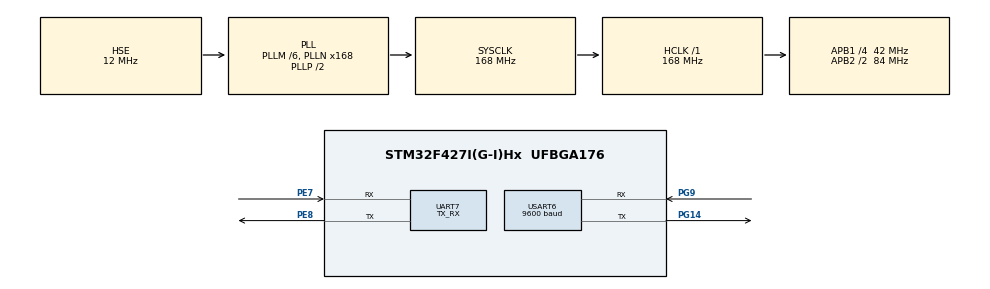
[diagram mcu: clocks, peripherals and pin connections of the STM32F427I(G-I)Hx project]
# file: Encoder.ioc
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Mcu.Family=STM32F4
Mcu.Name=STM32F427I(G-I)Hx
Mcu.Package=UFBGA176
NVIC.PriorityGroup=NVIC_PRIORITYGROUP_4
NVIC.TIM6_DAC_IRQn=true\:15\:0\:false\:false\:true\:false\:true\:true
NVIC.TimeBase=TIM6_DAC_IRQn
NVIC.TimeBaseIP=TIM6
NVIC.USART6_IRQn=true\:3\:0\:true\:false\:true\:true\:true\:true
PA13.Mode=Serial_Wire
PA13.Signal=SYS_JTMS-SWDIO
PA14.Mode=Serial_Wire
PA14.Signal=SYS_JTCK-SWCLK
PC14/OSC32_IN.Mode=LSE-External-Oscillator
PC14/OSC32_IN.Signal=RCC_OSC32_IN
PC15/OSC32_OUT.Mode=LSE-External-Oscillator
PC15/OSC32_OUT.Signal=RCC_OSC32_OUT
PD8.Signal=USART3_TX
PD9.Signal=USART3_RX
PE7.Mode=Asynchronous
PE7.Signal=UART7_RX
PE8.Mode=Asynchronous
PE8.Signal=UART7_TX
PG14.Mode=Asynchronous
PG14.Signal=USART6_TX
PG9.Mode=Asynchronous
PG9.Signal=USART6_RX
PH0/OSC_IN.Mode=HSE-External-Oscillator
PH0/OSC_IN.Signal=RCC_OSC_IN
PH1/OSC_OUT.Mode=HSE-External-Oscillator
PH1/OSC_OUT.Signal=RCC_OSC_OUT
ProjectManager.HeapSize=0x200
ProjectManager.StackSize=0x400
ProjectManager.TargetToolchain=MDK-ARM V5.32
RCC.48MHZClocksFreq_Value=84000000
RCC.AHBFreq_Value=168000000
RCC.APB1CLKDivider=RCC_HCLK_DIV4
RCC.APB1Freq_Value=42000000
RCC.APB1TimFreq_Value=84000000
RCC.APB2CLKDivider=RCC_HCLK_DIV2
RCC.APB2Freq_Value=84000000
RCC.APB2TimFreq_Value=168000000
RCC.CortexFreq_Value=168000000
RCC.HCLKFreq_Value=168000000
RCC.HSE_VALUE=12000000
RCC.HSI_VALUE=16000000
RCC.PLLM=6
RCC.PLLN=168
RCC.PLLSourceVirtual=RCC_PLLSOURCE_HSE
RCC.SYSCLKFreq_VALUE=168000000
RCC.SYSCLKSource=RCC_SYSCLKSOURCE_PLLCLK
RCC.VCOOutputFreq_Value=336000000
UART7.Mode=MODE_TX_RX
UART7.VirtualMode=Asynchronous
USART6.BaudRate=9600
USART6.Mode=MODE_RX
USART6.VirtualMode=VM_ASYNC
VP_SYS_VS_tim6.Mode=TIM6
board=custom

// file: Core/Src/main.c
/* USER CODE BEGIN Header */
/**
 ******************************************************************************
 * @file           : main.c
 * @brief          : Main program body
 ******************************************************************************
 * @attention
 *
 * Copyright (c) 2024 STMicroelectronics.
 * All rights reserved.
 *
 * This software is licensed under terms that can be found in the LICENSE file
 * in the root directory of this software component.
 * If no LICENSE file comes with this software, it is provided AS-IS.
 *
 ******************************************************************************
 */
/* USER CODE END Header */
#include "main.h"
#include "usart.h"
#include "gpio.h"

/* USER CODE BEGIN PTD */
uint8_t encoder_resive;
typedef struct
{
  uint8_t id;
  uint32_t get_data;
  float angle;
} encoder_back_t;

encoder_back_t encoder_A_back;
encoder_back_t encoder_B_back;
encoder_back_t encoder_C_back;
encoder_back_t encoder_D_back;

uint32_t angle_count;

typedef struct
{
  uint8_t data[30];
} custom_robot_data_t;

custom_robot_data_t custom_robot_data;

uint8_t text[] = "123456";
/* USER CODE END PTD */

/* USER CODE BEGIN PD */

#define MAX_RX_BUFFER_SIZE 10 // 定义最大接收缓冲区大小，根据实际需要调整
uint8_t rxBuffer[MAX_RX_BUFFER_SIZE]; // 定义接收数据的数组
uint32_t rxBufferIdx = 0;             // 定义接收数据的索引

/* USER CODE END PD */

void SystemClock_Config(void);

int main(void)
{

  /* MCU Configuration--------------------------------------------------------*/

  /* Reset of all peripherals, Initializes the Flash interface and the Systick. */
  HAL_Init();

  /* Configure the system clock */
  SystemClock_Config();

  /* Initialize all configured peripherals */
  MX_GPIO_Init();
  MX_UART7_Init();
  MX_USART6_UART_Init();
  /* USER CODE BEGIN 2 */
//  HAL_UART_Receive_IT(&huart6, &rxBuffer[rxBufferIdx], MAX_RX_BUFFER_SIZE);
  	  HAL_UART_Receive(&huart6, rxBuffer, MAX_RX_BUFFER_SIZE, 0xffff);

  /* USER CODE END 2 */

  /* Infinite loop */
  /* USER CODE BEGIN WHILE */
    int i = 0;
  while (1)
  {

    //HAL_UART_Receive_IT(&huart6, &rxBuffer[rxBufferIdx], MAX_RX_BUFFER_SIZE); // 重新启动接收

    HAL_Delay(1);

    //	HAL_UART_Transmit(&huart7,custom_robot_data.data, sizeof(custom_robot_data.data),0xffff);//

    if (i++ > 33)
    {
	  HAL_UART_Receive(&huart6, rxBuffer,MAX_RX_BUFFER_SIZE, 0xffff);

      i = 0;
      for (i = 0; i < 10; i++)
      {

        if (rxBuffer[i] == 0x01 && rxBuffer[i + 1] == 0x03 && rxBuffer[i + 2] == 0x04 && rxBuffer[i + 3] == 0x00)
        {
          encoder_A_back.id = rxBuffer[i];
          encoder_A_back.get_data = rxBuffer[i + 4] << 16 |
                                    ((rxBuffer[i + 5] << 8) | (rxBuffer[i + 6]));
          angle_count = encoder_A_back.get_data;
          encoder_A_back.angle = (float)angle_count / 262144 * 360;
        }
        if (rxBuffer[i] == 0x02 && rxBuffer[i + 1] == 0x03 && rxBuffer[i + 2] == 0x04 && rxBuffer[i + 3] == 0x00)
        {
          encoder_B_back.id = rxBuffer[i];
          encoder_B_back.get_data = rxBuffer[i + 4] << 16 |
                                    ((rxBuffer[i + 5] << 8) | (rxBuffer[i + 6]));
          angle_count = encoder_B_back.get_data;
          encoder_B_back.angle = (float)angle_count / 262144 * 360;
        }
        if (rxBuffer[i] == 0x03 && rxBuffer[i + 1] == 0x03 && rxBuffer[i + 2] == 0x04 && rxBuffer[i + 3] == 0x00)
        {
          encoder_C_back.id = rxBuffer[i];
          encoder_C_back.get_data = rxBuffer[i + 4] << 16 |
                                    ((rxBuffer[i + 5] << 8) | (rxBuffer[i + 6]));
          angle_count = encoder_C_back.get_data;
          encoder_C_back.angle = (float)angle_count / 262144 * 360;
        }
        if (rxBuffer[i] == 0x04 && rxBuffer[i + 1] == 0x03 && rxBuffer[i + 2] == 0x04 && rxBuffer[i + 3] == 0x00)
        {
          encoder_D_back.id = rxBuffer[i];
          encoder_D_back.get_data = rxBuffer[i + 4] << 16 |
                                    ((rxBuffer[i + 5] << 8) | (rxBuffer[i + 6]));
          angle_count = encoder_D_back.get_data;
          encoder_D_back.angle = (float)angle_count / 262144 * 360;
        }
      }
      custom_robot_data.data[0] = 0xff;
      custom_robot_data.data[1] = 0x00;
      custom_robot_data.data[2] = 0xee;

      custom_robot_data.data[3] = 0xaa;
      custom_robot_data.data[4] = encoder_A_back.angle / 100;
      custom_robot_data.data[5] = encoder_A_back.angle - custom_robot_data.data[4] * 100;
      custom_robot_data.data[6] = (encoder_A_back.angle - custom_robot_data.data[5] - custom_robot_data.data[4] * 100) * 100;

      custom_robot_data.data[7] = 0xbb;
      custom_robot_data.data[8] = encoder_B_back.angle / 100;
      custom_robot_data.data[9] = encoder_B_back.angle - custom_robot_data.data[8] * 100;
      custom_robot_data.data[10] = (encoder_B_back.angle - custom_robot_data.data[9] - custom_robot_data.data[8] * 100) * 100;

      custom_robot_data.data[11] = 0xcc;
      custom_robot_data.data[12] = encoder_C_back.angle / 100;
      custom_robot_data.data[13] = encoder_C_back.angle - custom_robot_data.data[12] * 100;
      custom_robot_data.data[14] = (encoder_C_back.angle - custom_robot_data.data[13] - custom_robot_data.data[12] * 100) * 100;

      custom_robot_data.data[15] = 0xdd;
      custom_robot_data.data[16] = encoder_D_back.angle / 100;
      custom_robot_data.data[17] = encoder_D_back.angle - custom_robot_data.data[16] * 100;
      custom_robot_data.data[18] = (encoder_D_back.angle - custom_robot_data.data[17] - custom_robot_data.data[16] * 100) * 100;

      custom_robot_data.data[19] = 0xab;
      custom_robot_data.data[20] = 0xff;
      custom_robot_data.data[21] = 0xcd;

      // 数据处理基本没有问题,但接收的角度偶然会跳变,幅度随机,持续跳向一个随机值,可能是硬件问题,等待算法优化

      HAL_UART_Transmit(&huart7, custom_robot_data.data, sizeof(custom_robot_data.data), 0xffff);

    }

    /* USER CODE END WHILE */

  }
}

void SystemClock_Config(void)
{
  RCC_OscInitTypeDef RCC_OscInitStruct = {0};
  RCC_ClkInitTypeDef RCC_ClkInitStruct = {0};

  /** Configure the main internal regulator output voltage
  */
  __HAL_RCC_PWR_CLK_ENABLE();
  __HAL_PWR_VOLTAGESCALING_CONFIG(PWR_REGULATOR_VOLTAGE_SCALE1);

  /** Initializes the RCC Oscillators according to the specified parameters
  * in the RCC_OscInitTypeDef structure.
  */
  RCC_OscInitStruct.OscillatorType = RCC_OSCILLATORTYPE_HSE;
  RCC_OscInitStruct.HSEState = RCC_HSE_ON;
  RCC_OscInitStruct.PLL.PLLState = RCC_PLL_ON;
  RCC_OscInitStruct.PLL.PLLSource = RCC_PLLSOURCE_HSE;
  RCC_OscInitStruct.PLL.PLLM = 6;
  RCC_OscInitStruct.PLL.PLLN = 168;
  RCC_OscInitStruct.PLL.PLLP = RCC_PLLP_DIV2;
  RCC_OscInitStruct.PLL.PLLQ = 4;
  if (HAL_RCC_OscConfig(&RCC_OscInitStruct) != HAL_OK)
  {
    Error_Handler();
  }

  /** Initializes the CPU, AHB and APB buses clocks
  */
  RCC_ClkInitStruct.ClockType = RCC_CLOCKTYPE_HCLK|RCC_CLOCKTYPE_SYSCLK
                              |RCC_CLOCKTYPE_PCLK1|RCC_CLOCKTYPE_PCLK2;
  RCC_ClkInitStruct.SYSCLKSource = RCC_SYSCLKSOURCE_PLLCLK;
  RCC_ClkInitStruct.AHBCLKDivider = RCC_SYSCLK_DIV1;
  RCC_ClkInitStruct.APB1CLKDivider = RCC_HCLK_DIV4;
  RCC_ClkInitStruct.APB2CLKDivider = RCC_HCLK_DIV2;

  if (HAL_RCC_ClockConfig(&RCC_ClkInitStruct, FLASH_LATENCY_5) != HAL_OK)
  {
    Error_Handler();
  }
}

/* USER CODE BEGIN 4 */
/*

//有问题,改波特率//已改为9600,观察情况

*/
void HAL_UART_RxCpltCallback(UART_HandleTypeDef *huart)
{
  if (huart == &huart6) // 假设是串口6的接收中断
  {
    rxBuffer[rxBufferIdx++] = huart->Instance->DR; // 将接收到的数据存入数组，并更新索引

    if (rxBufferIdx >= MAX_RX_BUFFER_SIZE)
    {
      rxBufferIdx = 0; // 如果超过了数组大小，可以选择重置索引或者其他处理方式
    }
  }
}

/* USER CODE END 4 */

void HAL_TIM_PeriodElapsedCallback(TIM_HandleTypeDef *htim)
{
  if (htim->Instance == TIM6) {
    HAL_IncTick();
  }
}

void Error_Handler(void)
{
  __disable_irq();
  while (1)
  {
  }
}
